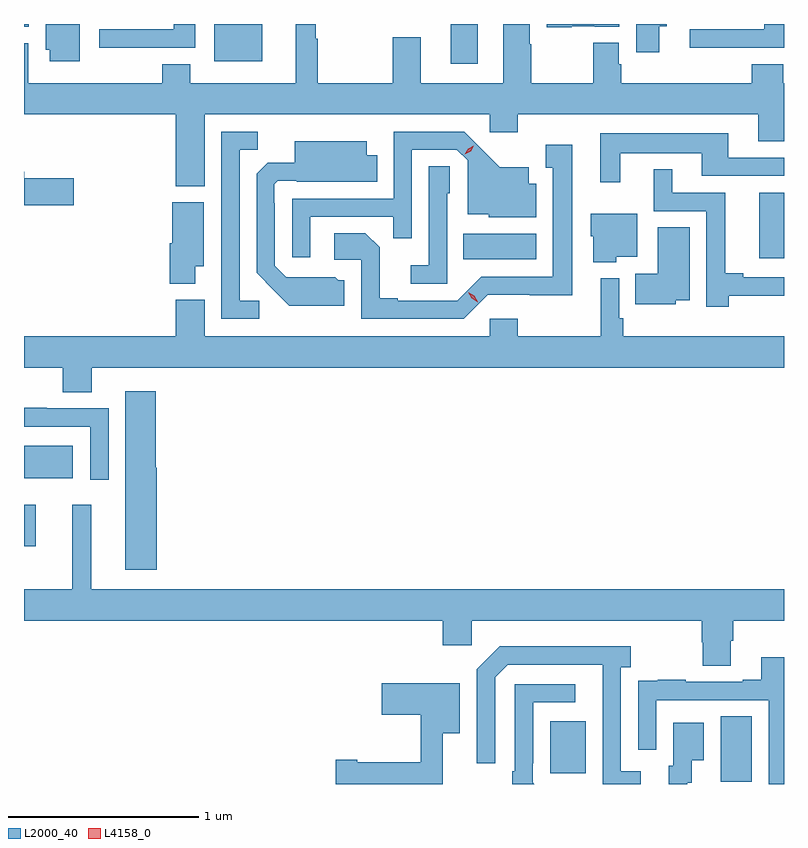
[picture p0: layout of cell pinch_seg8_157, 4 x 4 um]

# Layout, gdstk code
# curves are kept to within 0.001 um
import gdstk
lib = gdstk.Library(unit=1e-6, precision=1e-09)
def R(c, l, rs):  # rectangles x0, y0, x1, y1
    for r in rs: c.add(gdstk.rectangle(r[:2], r[2:], *l))
def P(c, l, *ps):  # polygons
    for p in ps: c.add(gdstk.Polygon(p, *l))
L2000_40 = (2000, 40)
L4158_0 = (4158, 0)

pinch_seg8_157 = lib.new_cell('pinch_seg8_157')
R(pinch_seg8_157, L2000_40, [(702.602,1139.629,702.766,1139.972), (701.705,1139.673,701.893,1139.947), (698.936,1140.867,698.999,1141.087), (698.936,1141.226,699.193,1141.396), (701.248,1142.378,701.632,1142.512), (702.806,1142.384,702.936,1142.728), (701.183,1143.408,701.323,1143.616), (699.938,1143.419,700.189,1143.616), (698.936,1143.601,698.962,1143.616)])
P(pinch_seg8_157, L2000_40, [(699.838,1143.616),(699.725,1143.616),(699.725,1143.588),(699.333,1143.588),(699.333,1143.491),(699.838,1143.491)],
  [(701.82,1143.605),(701.94,1143.605),(701.94,1143.602),(702.07,1143.602),(702.07,1143.616),(701.688,1143.616),(701.688,1143.598),(701.82,1143.598)],
  [(699.229,1143.616),(699.05,1143.616),(699.05,1143.48),(699.071,1143.48),(699.071,1143.42),(699.229,1143.42)],
  [(702.936,1143.616),(702.833,1143.616),(702.833,1143.588),(702.441,1143.588),(702.441,1143.491),(702.936,1143.491)],
  [(699.886,1143.14),(701.388,1143.14),(701.388,1143.045),(701.535,1143.045),(701.535,1143.14),(702.8,1143.14),(702.8,1142.998),(702.936,1142.998),(702.936,1143.304),(702.932,1143.304),(702.932,1143.403),(702.767,1143.403),(702.767,1143.304),(702.08,1143.304),(702.08,1143.405),(702.067,1143.405),(702.067,1143.517),(701.932,1143.517),(701.932,1143.304),(701.607,1143.304),(701.607,1143.509),(701.599,1143.509),(701.599,1143.616),(701.459,1143.616),(701.459,1143.304),(701.023,1143.304),(701.023,1143.547),(700.876,1143.547),(700.876,1143.304),(700.481,1143.304),(700.481,1143.539),(700.471,1143.539),(700.471,1143.616),(700.367,1143.616),(700.367,1143.304),(699.811,1143.304),(699.811,1143.403),(699.664,1143.403),(699.664,1143.304),(698.959,1143.304),(698.959,1143.516),(698.936,1143.516),(698.936,1143.14),(699.734,1143.14),(699.734,1142.762),(699.886,1142.762)],
  [(702.28,1143.605),(702.319,1143.605),(702.319,1143.616),(702.158,1143.616),(702.158,1143.468),(702.28,1143.468)],
  [(700.443,1142.601),(700.879,1142.601),(700.879,1142.488),(700.977,1142.488),(700.977,1142.955),(701.214,1142.955),(701.271,1142.898),(701.271,1142.615),(701.382,1142.615),(701.382,1142.6),(701.632,1142.6),(701.632,1142.776),(701.593,1142.776),(701.593,1142.863),(701.441,1142.863),(701.254,1143.048),(700.881,1143.048),(700.881,1142.697),(700.347,1142.697),(700.347,1142.388),(700.443,1142.388)],
  [(700.174,1142.16),(700.071,1142.16),(700.071,1142.953),(700.167,1142.953),(700.167,1143.048),(699.975,1143.048),(699.975,1142.064),(700.174,1142.064)],
  [(702.073,1142.936),(702.503,1142.936),(702.503,1142.817),(702.936,1142.817),(702.936,1142.913),(702.643,1142.913),(702.643,1143.04),(701.969,1143.04),(701.969,1142.784),(702.073,1142.784)],
  [(700.621,1142.268),(700.59,1142.268),(700.574,1142.284),(700.317,1142.283),(700.257,1142.343),(700.257,1142.672),(700.254,1142.672),(700.254,1142.772),(700.272,1142.79),(700.372,1142.79),(700.372,1142.786),(700.796,1142.786),(700.796,1142.926),(700.741,1142.926),(700.741,1142.998),(700.361,1142.998),(700.361,1142.887),(700.22,1142.887),(700.161,1142.828),(700.161,1142.306),(700.333,1142.132),(700.621,1142.132)],
  [(701.376,1142.19),(701.821,1142.189),(701.821,1142.98),(701.681,1142.98),(701.681,1142.859),(701.72,1142.859),(701.72,1142.286),(701.343,1142.286),(701.217,1142.16),(700.903,1142.16),(700.903,1142.173),(700.809,1142.173),(700.809,1142.44),(700.733,1142.516),(700.569,1142.516),(700.569,1142.376),(700.71,1142.376),(700.71,1142.064),(701.25,1142.064)],
  [(701.163,1142.724),(701.178,1142.724),(701.178,1142.867),(701.067,1142.867),(701.067,1142.347),(700.971,1142.347),(700.971,1142.25),(701.163,1142.25)],
  [(702.644,1142.186),(702.936,1142.186),(702.936,1142.283),(702.721,1142.283),(702.721,1142.303),(702.626,1142.303),(702.626,1142.727),(702.349,1142.727),(702.349,1142.851),(702.251,1142.851),(702.251,1142.631),(702.528,1142.631),(702.528,1142.127),(702.644,1142.127)],
  [(699.199,1142.805),(698.938,1142.805),(698.938,1142.839),(698.936,1142.839),(698.936,1142.663),(699.199,1142.663)],
  [(699.838,1142.342),(699.883,1142.342),(699.883,1142.677),(699.716,1142.677),(699.716,1142.463),(699.704,1142.463),(699.704,1142.249),(699.838,1142.249)],
  [(702.054,1142.39),(702.163,1142.39),(702.163,1142.617),(701.918,1142.617),(701.918,1142.499),(701.933,1142.499),(701.933,1142.363),(702.054,1142.363)],
  [(702.366,1142.162),(702.439,1142.162),(702.439,1142.546),(702.272,1142.546),(702.272,1142.302),(702.154,1142.302),(702.154,1142.141),(702.366,1142.141)],
  [(699.292,1141.808),(702.936,1141.808),(702.936,1141.972),(702.089,1141.972),(702.089,1142.068),(702.069,1142.068),(702.069,1142.278),(701.972,1142.278),(701.972,1141.972),(701.535,1141.972),(701.535,1142.065),(701.388,1142.065),(701.388,1141.972),(699.886,1141.972),(699.886,1142.164),(699.734,1142.164),(699.734,1141.972),(698.936,1141.972),(698.936,1141.808),(699.14,1141.808),(699.14,1141.678),(699.292,1141.678)],
  [(699.634,1141.281),(699.629,1141.281),(699.629,1141.684),(699.47,1141.684),(699.47,1140.744),(699.634,1140.744)],
  [(699.381,1141.593),(699.056,1141.593),(699.056,1141.595),(698.936,1141.595),(698.936,1141.497),(699.285,1141.497),(699.285,1141.218),(699.381,1141.218)],
  [(702.655,1140.37),(702.668,1140.37),(702.668,1140.476),(702.936,1140.476),(702.936,1140.64),(699.29,1140.64),(699.29,1141.087),(699.191,1141.087),(699.191,1140.64),(698.936,1140.64),(698.936,1140.476),(701.141,1140.476),(701.141,1140.345),(701.292,1140.345),(701.292,1140.476),(702.503,1140.476),(702.503,1140.363),(702.508,1140.363),(702.508,1140.238),(702.655,1140.238)],
  [(702.181,1139.682),(702.078,1139.682),(702.078,1140.23),(702.13,1140.23),(702.13,1140.34),(701.44,1140.34),(701.319,1140.219),(701.319,1139.724),(701.415,1139.724),(701.415,1140.177),(701.481,1140.243),(701.981,1140.243),(701.982,1139.616),(702.181,1139.616)],
  [(702.936,1140.283),(702.815,1140.283),(702.815,1140.166),(702.719,1140.166),(702.719,1140.153),(702.419,1140.153),(702.419,1140.166),(702.271,1140.166),(702.271,1140.159),(702.169,1140.159),(702.169,1140.05),(702.168,1140.05),(702.168,1139.796),(702.264,1139.796),(702.264,1140.057),(702.855,1140.057),(702.855,1139.616),(702.936,1139.616)],
  [(701.141,1139.882),(701.23,1139.882),(701.23,1140.147),(700.818,1140.147),(700.818,1139.981),(701.023,1139.981),(701.023,1139.731),(700.69,1139.731),(700.69,1139.744),(700.578,1139.744),(700.578,1139.616),(701.141,1139.616)],
  [(701.613,1139.625),(701.613,1139.725),(701.616,1139.725),(701.616,1140.045),(701.836,1140.045),(701.836,1140.141),(701.52,1140.141),(701.52,1139.683),(701.505,1139.683),(701.505,1139.616),(701.622,1139.616)],
  [(702.426,1139.622),(702.451,1139.622),(702.451,1139.741),(702.514,1139.741),(702.514,1139.938),(702.353,1139.938),(702.353,1139.712),(702.329,1139.712),(702.329,1139.616),(702.426,1139.616)])
P(pinch_seg8_157, L4158_0, [(701.255,1142.93),(701.255,1142.93),(701.273,1142.96),(701.303,1142.976),(701.303,1142.976),(701.303,1142.975),(701.286,1142.946),(701.256,1142.93)],
  [(701.324,1142.152),(701.292,1142.172),(701.275,1142.204),(701.275,1142.204),(701.275,1142.204),(701.307,1142.185),(701.324,1142.153),(701.324,1142.152)])

lib.write_gds('pinch_seg8_157.gds')
